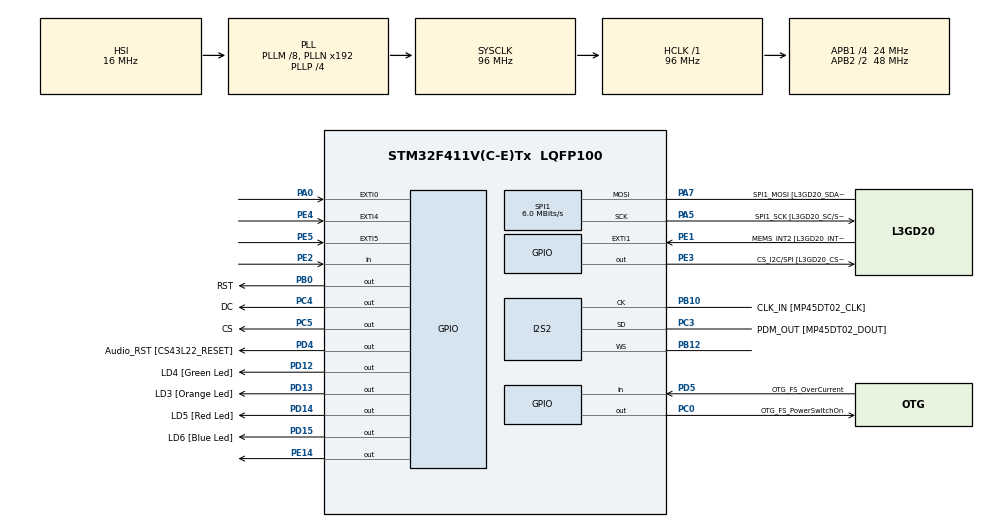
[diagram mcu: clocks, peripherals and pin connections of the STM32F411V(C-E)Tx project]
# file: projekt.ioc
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Dma.Request0=SPI2_RX
Dma.SPI2_RX.0.Direction=DMA_PERIPH_TO_MEMORY
Dma.SPI2_RX.0.FIFOMode=DMA_FIFOMODE_DISABLE
Dma.SPI2_RX.0.Instance=DMA1_Stream3
Dma.SPI2_RX.0.MemDataAlignment=DMA_MDATAALIGN_HALFWORD
Dma.SPI2_RX.0.MemInc=DMA_MINC_ENABLE
Dma.SPI2_RX.0.Mode=DMA_CIRCULAR
Dma.SPI2_RX.0.PeriphDataAlignment=DMA_PDATAALIGN_HALFWORD
Dma.SPI2_RX.0.PeriphInc=DMA_PINC_DISABLE
Dma.SPI2_RX.0.Priority=DMA_PRIORITY_HIGH
I2S2.AudioFreq=I2S_AUDIOFREQ_44K
I2S2.DataFormat=I2S_DATAFORMAT_16B
I2S2.ErrorAudioFreq=0.26 %
I2S2.FullDuplexMode=I2S_FULLDUPLEXMODE_DISABLE
I2S2.Instance=SPI$Index
I2S2.Mode=I2S_MODE_MASTER_RX
I2S2.RealAudioFreq=44.117 KHz
I2S2.VirtualMode=I2S_MODE_MASTER
Mcu.Family=STM32F4
Mcu.Name=STM32F411V(C-E)Tx
Mcu.Package=LQFP100
NVIC.DMA1_Stream3_IRQn=true\:0\:0\:false\:false\:true\:false\:true\:true
NVIC.EXTI0_IRQn=true\:0\:0\:false\:false\:true\:true\:true\:true
NVIC.PriorityGroup=NVIC_PRIORITYGROUP_0
NVIC.TIM2_IRQn=true\:0\:0\:false\:false\:true\:true\:true\:true
PA0-WKUP.GPIO_ModeDefaultEXTI=GPIO_MODE_IT_RISING_FALLING
PA0-WKUP.GPIO_PuPd=GPIO_PULLDOWN
PA0-WKUP.Signal=GPXTI0
PA10.GPIO_Label=OTG_FS_ID
PA10.Signal=USB_OTG_FS_ID
PA11.GPIO_Label=OTG_FS_DM
PA11.Signal=USB_OTG_FS_DM
PA12.GPIO_Label=OTG_FS_DP
PA12.Signal=USB_OTG_FS_DP
PA13.GPIO_Label=SWDIO
PA13.Signal=SYS_JTMS-SWDIO
PA14.GPIO_Label=SWCLK
PA14.Signal=SYS_JTCK-SWCLK
PA4.GPIO_Label=I2S3_WS [CS43L22_LRCK]
PA4.GPIO_Mode=GPIO_MODE_AF_PP
PA4.GPIO_PuPd=GPIO_NOPULL
PA4.GPIO_Speed=GPIO_SPEED_FREQ_LOW
PA4.Signal=I2S3_WS
PA5.GPIO_Label=SPI1_SCK [L3GD20_SC/SPC]
PA5.Mode=Simplex_Bidirectional_Master
PA5.Signal=SPI1_SCK
PA6.GPIO_Label=SPI1_MISO [L3GD20_AS0/SDO]
PA6.Signal=SPI1_MISO
PA7.GPIO_Label=SPI1_MOSI [L3GD20_SDA/SDI/SDO]
PA7.Mode=Simplex_Bidirectional_Master
PA7.Signal=SPI1_MOSI
PA9.GPIO_Label=VBUS_FS
PA9.Signal=USB_OTG_FS_VBUS
PB0.GPIO_Label=RST
PB0.GPIO_PuPd=GPIO_NOPULL
PB0.GPIO_Speed=GPIO_SPEED_FREQ_VERY_HIGH
PB0.Signal=GPIO_Output
PB10.GPIO_Label=CLK_IN [MP45DT02_CLK]
PB10.Mode=Half_Duplex_Master
PB10.Signal=I2S2_CK
PB12.Mode=Half_Duplex_Master
PB12.Signal=I2S2_WS
PB3.GPIO_Label=SWO
PB3.Signal=SYS_JTDO-SWO
PB6.GPIO_Label=Audio_SCL [CS43L22_SCL]
PB6.GPIO_Mode=GPIO_MODE_AF_OD
PB6.GPIO_PuPd=GPIO_NOPULL
PB6.GPIO_Speed=GPIO_SPEED_FREQ_LOW
PB6.Signal=I2C1_SCL
PB9.GPIO_Label=Audio_SDA [CS43L22_SDA]
PB9.GPIO_Mode=GPIO_MODE_AF_OD
PB9.GPIO_PuPd=GPIO_NOPULL
PB9.GPIO_Speed=GPIO_SPEED_FREQ_LOW
PB9.Signal=I2C1_SDA
PC0.GPIO_Label=OTG_FS_PowerSwitchOn
PC0.PinState=GPIO_PIN_SET
PC0.Signal=GPIO_Output
PC10.GPIO_Label=I2S3_SCK [CS43L22_SCLK]
PC10.GPIO_Mode=GPIO_MODE_AF_PP
PC10.GPIO_PuPd=GPIO_NOPULL
PC10.GPIO_Speed=GPIO_SPEED_FREQ_LOW
PC10.Signal=I2S3_CK
PC12.GPIO_Label=I2S3_SD [CS43L22_SDIN]
PC12.GPIO_Mode=GPIO_MODE_AF_PP
PC12.GPIO_PuPd=GPIO_NOPULL
PC12.GPIO_Speed=GPIO_SPEED_FREQ_LOW
PC12.Signal=I2S3_SD
PC14-OSC32_IN.GPIO_Label=PC14-OSC32_IN
PC14-OSC32_IN.Signal=RCC_OSC32_IN
PC15-OSC32_OUT.GPIO_Label=PC15-OSC32_OUT
PC15-OSC32_OUT.Signal=RCC_OSC32_OUT
PC3.GPIO_Label=PDM_OUT [MP45DT02_DOUT]
PC3.Mode=Half_Duplex_Master
PC3.Signal=I2S2_SD
PC4.GPIO_Label=DC
PC4.GPIO_PuPd=GPIO_NOPULL
PC4.GPIO_Speed=GPIO_SPEED_FREQ_VERY_HIGH
PC4.Signal=GPIO_Output
PC5.GPIO_Label=CS
PC5.GPIO_PuPd=GPIO_NOPULL
PC5.GPIO_Speed=GPIO_SPEED_FREQ_VERY_HIGH
PC5.Signal=GPIO_Output
PC7.GPIO_Label=I2S3_MCK [CS43L22_MCLK]
PC7.GPIO_Mode=GPIO_MODE_AF_PP
PC7.GPIO_PuPd=GPIO_NOPULL
PC7.GPIO_Speed=GPIO_SPEED_FREQ_LOW
PC7.Signal=I2S3_MCK
PD12.GPIO_Label=LD4 [Green Led]
PD12.GPIO_PuPd=GPIO_NOPULL
PD12.GPIO_Speed=GPIO_SPEED_FREQ_LOW
PD12.Signal=GPIO_Output
PD13.GPIO_Label=LD3 [Orange Led]
PD13.GPIO_PuPd=GPIO_NOPULL
PD13.GPIO_Speed=GPIO_SPEED_FREQ_LOW
PD13.Signal=GPIO_Output
PD14.GPIO_Label=LD5 [Red Led]
PD14.GPIO_PuPd=GPIO_NOPULL
PD14.GPIO_Speed=GPIO_SPEED_FREQ_LOW
PD14.Signal=GPIO_Output
PD15.GPIO_Label=LD6 [Blue Led]
PD15.GPIO_PuPd=GPIO_NOPULL
PD15.GPIO_Speed=GPIO_SPEED_FREQ_LOW
PD15.Signal=GPIO_Output
PD4.GPIO_Label=Audio_RST [CS43L22_RESET]
PD4.GPIO_PuPd=GPIO_NOPULL
PD4.Signal=GPIO_Output
PD5.GPIO_Label=OTG_FS_OverCurrent
PD5.Signal=GPIO_Input
PE1.GPIO_Label=MEMS_INT2 [L3GD20_INT2]
PE1.GPIO_ModeDefaultEXTI=GPIO_MODE_EVT_RISING
PE1.Signal=GPXTI1
PE14.Signal=GPIO_Output
PE2.Signal=GPIO_Input
PE3.GPIO_Label=CS_I2C/SPI [L3GD20_CS_I2C/SPI]
PE3.Signal=GPIO_Output
PE4.GPIO_ModeDefaultEXTI=GPIO_MODE_EVT_RISING
PE4.Signal=GPXTI4
PE5.GPIO_ModeDefaultEXTI=GPIO_MODE_EVT_RISING
PE5.Signal=GPXTI5
PH0\ -\ OSC_IN.GPIO_Label=PH0-OSC_IN
PH0\ -\ OSC_IN.Signal=RCC_OSC_IN
PH1\ -\ OSC_OUT.GPIO_Label=PH1-OSC_OUT
PH1\ -\ OSC_OUT.Signal=RCC_OSC_OUT
ProjectManager.HeapSize=0x200
ProjectManager.StackSize=0x400
ProjectManager.TargetToolchain=STM32CubeIDE
RCC.48MHZClocksFreq_Value=48000000
RCC.AHBFreq_Value=96000000
RCC.APB1CLKDivider=RCC_HCLK_DIV4
RCC.APB1Freq_Value=24000000
RCC.APB1TimFreq_Value=48000000
RCC.APB2CLKDivider=RCC_HCLK_DIV2
RCC.APB2Freq_Value=48000000
RCC.APB2TimFreq_Value=96000000
RCC.CortexFreq_Value=96000000
RCC.HCLKFreq_Value=96000000
RCC.HSE_VALUE=8000000
RCC.HSI_VALUE=16000000
RCC.LSE_VALUE=32768
RCC.PLLI2SM=8
RCC.PLLI2SR=4
RCC.PLLM=8
RCC.PLLP=RCC_PLLP_DIV4
RCC.PLLQ=8
RCC.SYSCLKFreq_VALUE=96000000
RCC.SYSCLKSource=RCC_SYSCLKSOURCE_PLLCLK
RCC.VCOOutputFreq_Value=384000000
SPI1.BaudRatePrescaler=SPI_BAUDRATEPRESCALER_8
SPI1.CalculateBaudRate=6.0 MBits/s
SPI1.DataSize=SPI_DATASIZE_8BIT
SPI1.Direction=SPI_DIRECTION_1LINE
SPI1.FirstBit=SPI_FIRSTBIT_MSB
SPI1.Mode=SPI_MODE_MASTER
SPI1.VirtualType=VM_MASTER
TIM2.Period=2999
TIM2.Prescaler=999
VP_TIM2_VS_ClockSourceINT.Mode=Internal
board=STM32F411E-DISCO

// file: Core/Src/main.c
/* USER CODE BEGIN Header */
/**
  ******************************************************************************
  * @file           : main.c
  * @brief          : Main program body
  ******************************************************************************
  * @attention
  *
  * Copyright (c) 2026 STMicroelectronics.
  * All rights reserved.
  *
  * This software is licensed under terms that can be found in the LICENSE file
  * in the root directory of this software component.
  * If no LICENSE file comes with this software, it is provided AS-IS.
  *
  ******************************************************************************
  */
/* USER CODE END Header */
#include "main.h"

/* USER CODE BEGIN Includes */
#include <string.h>
#include "st7735.h"
#include <stdlib.h>
#include <time.h>
// arm_math for FFT
#define ARM_MATH_CM4
#include "arm_math.h"
/* USER CODE END Includes */

/* USER CODE BEGIN PD */
#define I2S_DMA_BUF_LEN   1024
#define AUDIO_SAMPLES    (I2S_DMA_BUF_LEN / 2)
#define FFT_SIZE AUDIO_SAMPLES
#define MIC_CHANNEL_OFFSET  0
#define FFT_BUF_SIZE AUDIO_SAMPLES
/* USER CODE END PD */

I2S_HandleTypeDef hi2s2;
DMA_HandleTypeDef hdma_spi2_rx;

SPI_HandleTypeDef hspi1;

TIM_HandleTypeDef htim2;

void SystemClock_Config(void);
static void MX_GPIO_Init(void);
static void MX_DMA_Init(void);
static void MX_SPI1_Init(void);
static void MX_I2S2_Init(void);
static void MX_TIM2_Init(void);
/* USER CODE BEGIN PFP */
float32_t amplitude[160] = {0}; // 128 = SCREEN_WIDTH
float32_t frequencies[160] = {0};
float32_t sampling_rate = 0;
int16_t i2s_dma_buf[I2S_DMA_BUF_LEN] = {0};
float32_t fft_in[AUDIO_SAMPLES] = {0};
float32_t fft_out[AUDIO_SAMPLES] = {0};

volatile uint8_t modeDb = 0;

volatile uint8_t audio_half_ready = 0;
volatile uint8_t audio_full_ready = 0; // flags triggered on DMA callbacks (microphone)

volatile uint8_t can_refresh_lcd = 0; // flag triggered on TIM2 callback

arm_rfft_fast_instance_f32 fftHandler;

void init() {
	// initialize peripherals and code variables
	ST7735_Init();
	ST7735_FillScreen(BLACK);
	HAL_GPIO_WritePin(GPIOE, GPIO_PIN_14, 0); // MEMS Mic Channel Left
	arm_rfft_fast_init_f32(&fftHandler, FFT_BUF_SIZE);
}

void copy_audio_block(uint32_t start, uint32_t stop, uint32_t pcm_offset){
	// copy audio from i2s buffer to pcm
	uint32_t j = pcm_offset;
    for (uint32_t i = start; i < stop; i += 2)
    {
    	fft_in[j++] = i2s_dma_buf[i];
    }

}
void remove_dc(float32_t *signal, uint32_t size)
{
    float32_t mean = 0.0f;

    for (uint32_t i = 0; i < size; i++)
        mean += signal[i];

    mean /= size;

    for (uint32_t i = 0; i < size; i++)
        signal[i] -= mean;
}
void process_audio(){
	/*
	 * use of FFT function and deriving spectrum by calculating magnitute of complex output
	 */
	uint32_t j = 0;
	remove_dc(fft_in, sizeof(fft_in)/sizeof(float32_t));
	arm_rfft_fast_f32(&fftHandler, &fft_in, &fft_out, 0);
	for(int i = 0; i < 2 * sizeof(amplitude)/sizeof(float32_t); i+=2){
		if(i == 0){
			amplitude[j++] = modeDb
					    ? 20.0f * log10f((sqrtf(fft_out[i]*fft_out[i] + fft_out[i+1]*fft_out[i+1]) / AUDIO_SAMPLES) + 1e-12f)
					    : (2.0f * sqrtf(fft_out[i]*fft_out[i] + fft_out[i+1]*fft_out[i+1]) / AUDIO_SAMPLES);
		}
		else {
			amplitude[j++] = modeDb
					    ? 20.0f * log10f((2.0f * sqrtf(fft_out[i]*fft_out[i] + fft_out[i+1]*fft_out[i+1]) / AUDIO_SAMPLES) + 1e-12f)
					    : (2.0f * sqrtf(fft_out[i]*fft_out[i] + fft_out[i+1]*fft_out[i+1]) / AUDIO_SAMPLES);
		}

	}
}
void lcd(){
	/*
	 * refreshing lcd screen outpput
	 */
	ST7735_DrawColumns(amplitude, sizeof(amplitude)/sizeof(uint32_t), modeDb);
}
void modeSwitch(){
	modeDb = ~modeDb;
}
/* USER CODE END PFP */

/* USER CODE BEGIN 0 */

/*
 * Button handling
 */
uint32_t btn_timerTick = 0;
uint32_t btn_lastTick = 0;
uint8_t isFallingEdge(){
	return HAL_GPIO_ReadPin(GPIOA, GPIO_PIN_0) == 0;
}
void HAL_GPIO_EXTI_Callback(uint16_t GPIO_Pin)
{
	if(GPIO_Pin == GPIO_PIN_0){
		btn_timerTick = HAL_GetTick();
		if(isFallingEdge()){
			btn_lastTick = btn_timerTick;
			return;
		}
		if(btn_timerTick - btn_lastTick > 200){
			modeSwitch();
			btn_lastTick = btn_timerTick;
		}
	}
}

void HAL_I2S_RxHalfCpltCallback(I2S_HandleTypeDef *hi2s)
{
    if (hi2s->Instance == SPI2)
    {
    	audio_half_ready = 1;
    }
}

void HAL_I2S_RxCpltCallback(I2S_HandleTypeDef *hi2s)
{
    if (hi2s->Instance == SPI2)
    {
    	audio_full_ready = 1;
    }
}
void HAL_TIM_PeriodElapsedCallback(TIM_HandleTypeDef *htim)
{
    if (htim->Instance == TIM2)
    {
    	can_refresh_lcd = 1;
    }
}
/* USER CODE END 0 */

int main(void)
{

  /* MCU Configuration--------------------------------------------------------*/

  /* Reset of all peripherals, Initializes the Flash interface and the Systick. */
  HAL_Init();

  /* Configure the system clock */
  SystemClock_Config();

  /* Initialize all configured peripherals */
  MX_GPIO_Init();
  MX_DMA_Init();
  MX_SPI1_Init();
  MX_I2S2_Init();
  MX_TIM2_Init();
  /* USER CODE BEGIN 2 */
  sampling_rate = hi2s2.Init.AudioFreq;
  init();
  HAL_TIM_Base_Start_IT(&htim2);
  HAL_I2S_Receive_DMA(&hi2s2, i2s_dma_buf, I2S_DMA_BUF_LEN);
  /* USER CODE END 2 */

  /* Infinite loop */
  /* USER CODE BEGIN WHILE */
  while (1)
  {
      if (audio_half_ready)
      {
          audio_half_ready = 0;
          copy_audio_block(0, I2S_DMA_BUF_LEN / 2, 0);
      }

      if (audio_full_ready)
      {
          audio_full_ready = 0;
          copy_audio_block(I2S_DMA_BUF_LEN / 2, I2S_DMA_BUF_LEN, AUDIO_SAMPLES/2);

      }
      if(can_refresh_lcd){
    	  process_audio();
    	  lcd();
    	  can_refresh_lcd = 0;
      }

    /* USER CODE END WHILE */

  }
}

void SystemClock_Config(void)
{
  RCC_OscInitTypeDef RCC_OscInitStruct = {0};
  RCC_ClkInitTypeDef RCC_ClkInitStruct = {0};

  /** Configure the main internal regulator output voltage
  */
  __HAL_RCC_PWR_CLK_ENABLE();
  __HAL_PWR_VOLTAGESCALING_CONFIG(PWR_REGULATOR_VOLTAGE_SCALE1);

  /** Initializes the RCC Oscillators according to the specified parameters
  * in the RCC_OscInitTypeDef structure.
  */
  RCC_OscInitStruct.OscillatorType = RCC_OSCILLATORTYPE_HSI;
  RCC_OscInitStruct.HSIState = RCC_HSI_ON;
  RCC_OscInitStruct.HSICalibrationValue = RCC_HSICALIBRATION_DEFAULT;
  RCC_OscInitStruct.PLL.PLLState = RCC_PLL_ON;
  RCC_OscInitStruct.PLL.PLLSource = RCC_PLLSOURCE_HSI;
  RCC_OscInitStruct.PLL.PLLM = 8;
  RCC_OscInitStruct.PLL.PLLN = 192;
  RCC_OscInitStruct.PLL.PLLP = RCC_PLLP_DIV4;
  RCC_OscInitStruct.PLL.PLLQ = 8;
  if (HAL_RCC_OscConfig(&RCC_OscInitStruct) != HAL_OK)
  {
    Error_Handler();
  }

  /** Initializes the CPU, AHB and APB buses clocks
  */
  RCC_ClkInitStruct.ClockType = RCC_CLOCKTYPE_HCLK|RCC_CLOCKTYPE_SYSCLK
                              |RCC_CLOCKTYPE_PCLK1|RCC_CLOCKTYPE_PCLK2;
  RCC_ClkInitStruct.SYSCLKSource = RCC_SYSCLKSOURCE_PLLCLK;
  RCC_ClkInitStruct.AHBCLKDivider = RCC_SYSCLK_DIV1;
  RCC_ClkInitStruct.APB1CLKDivider = RCC_HCLK_DIV4;
  RCC_ClkInitStruct.APB2CLKDivider = RCC_HCLK_DIV2;

  if (HAL_RCC_ClockConfig(&RCC_ClkInitStruct, FLASH_LATENCY_3) != HAL_OK)
  {
    Error_Handler();
  }
}

static void MX_I2S2_Init(void)
{

  hi2s2.Instance = SPI2;
  hi2s2.Init.Mode = I2S_MODE_MASTER_RX;
  hi2s2.Init.Standard = I2S_STANDARD_PHILIPS;
  hi2s2.Init.DataFormat = I2S_DATAFORMAT_16B;
  hi2s2.Init.MCLKOutput = I2S_MCLKOUTPUT_DISABLE;
  hi2s2.Init.AudioFreq = I2S_AUDIOFREQ_44K;
  hi2s2.Init.CPOL = I2S_CPOL_LOW;
  hi2s2.Init.ClockSource = I2S_CLOCK_PLL;
  hi2s2.Init.FullDuplexMode = I2S_FULLDUPLEXMODE_DISABLE;
  if (HAL_I2S_Init(&hi2s2) != HAL_OK)
  {
    Error_Handler();
  }

}

static void MX_SPI1_Init(void)
{

  /* SPI1 parameter configuration*/
  hspi1.Instance = SPI1;
  hspi1.Init.Mode = SPI_MODE_MASTER;
  hspi1.Init.Direction = SPI_DIRECTION_1LINE;
  hspi1.Init.DataSize = SPI_DATASIZE_8BIT;
  hspi1.Init.CLKPolarity = SPI_POLARITY_LOW;
  hspi1.Init.CLKPhase = SPI_PHASE_1EDGE;
  hspi1.Init.NSS = SPI_NSS_SOFT;
  hspi1.Init.BaudRatePrescaler = SPI_BAUDRATEPRESCALER_8;
  hspi1.Init.FirstBit = SPI_FIRSTBIT_MSB;
  hspi1.Init.TIMode = SPI_TIMODE_DISABLE;
  hspi1.Init.CRCCalculation = SPI_CRCCALCULATION_DISABLE;
  hspi1.Init.CRCPolynomial = 10;
  if (HAL_SPI_Init(&hspi1) != HAL_OK)
  {
    Error_Handler();
  }

}

static void MX_TIM2_Init(void)
{

  TIM_ClockConfigTypeDef sClockSourceConfig = {0};
  TIM_MasterConfigTypeDef sMasterConfig = {0};

  htim2.Instance = TIM2;
  htim2.Init.Prescaler = 999;
  htim2.Init.CounterMode = TIM_COUNTERMODE_UP;
  htim2.Init.Period = 2999;
  htim2.Init.ClockDivision = TIM_CLOCKDIVISION_DIV1;
  htim2.Init.AutoReloadPreload = TIM_AUTORELOAD_PRELOAD_DISABLE;
  if (HAL_TIM_Base_Init(&htim2) != HAL_OK)
  {
    Error_Handler();
  }
  sClockSourceConfig.ClockSource = TIM_CLOCKSOURCE_INTERNAL;
  if (HAL_TIM_ConfigClockSource(&htim2, &sClockSourceConfig) != HAL_OK)
  {
    Error_Handler();
  }
  sMasterConfig.MasterOutputTrigger = TIM_TRGO_RESET;
  sMasterConfig.MasterSlaveMode = TIM_MASTERSLAVEMODE_DISABLE;
  if (HAL_TIMEx_MasterConfigSynchronization(&htim2, &sMasterConfig) != HAL_OK)
  {
    Error_Handler();
  }

}

static void MX_DMA_Init(void)
{

  /* DMA controller clock enable */
  __HAL_RCC_DMA1_CLK_ENABLE();

  /* DMA interrupt init */
  /* DMA1_Stream3_IRQn interrupt configuration */
  HAL_NVIC_SetPriority(DMA1_Stream3_IRQn, 0, 0);
  HAL_NVIC_EnableIRQ(DMA1_Stream3_IRQn);

}

static void MX_GPIO_Init(void)
{
  GPIO_InitTypeDef GPIO_InitStruct = {0};

  /* GPIO Ports Clock Enable */
  __HAL_RCC_GPIOE_CLK_ENABLE();
  __HAL_RCC_GPIOC_CLK_ENABLE();
  __HAL_RCC_GPIOH_CLK_ENABLE();
  __HAL_RCC_GPIOA_CLK_ENABLE();
  __HAL_RCC_GPIOB_CLK_ENABLE();
  __HAL_RCC_GPIOD_CLK_ENABLE();

  /*Configure GPIO pin Output Level */
  HAL_GPIO_WritePin(GPIOE, CS_I2C_SPI_Pin|GPIO_PIN_14, GPIO_PIN_RESET);

  /*Configure GPIO pin Output Level */
  HAL_GPIO_WritePin(OTG_FS_PowerSwitchOn_GPIO_Port, OTG_FS_PowerSwitchOn_Pin, GPIO_PIN_SET);

  /*Configure GPIO pin Output Level */
  HAL_GPIO_WritePin(GPIOC, DC_Pin|CS_Pin, GPIO_PIN_RESET);

  /*Configure GPIO pin Output Level */
  HAL_GPIO_WritePin(RST_GPIO_Port, RST_Pin, GPIO_PIN_RESET);

  /*Configure GPIO pin Output Level */
  HAL_GPIO_WritePin(GPIOD, LD4_Pin|LD3_Pin|LD5_Pin|LD6_Pin
                          |Audio_RST_Pin, GPIO_PIN_RESET);

  /*Configure GPIO pin : PE2 */
  GPIO_InitStruct.Pin = GPIO_PIN_2;
  GPIO_InitStruct.Mode = GPIO_MODE_INPUT;
  GPIO_InitStruct.Pull = GPIO_NOPULL;
  HAL_GPIO_Init(GPIOE, &GPIO_InitStruct);

  /*Configure GPIO pins : CS_I2C_SPI_Pin PE14 */
  GPIO_InitStruct.Pin = CS_I2C_SPI_Pin|GPIO_PIN_14;
  GPIO_InitStruct.Mode = GPIO_MODE_OUTPUT_PP;
  GPIO_InitStruct.Pull = GPIO_NOPULL;
  GPIO_InitStruct.Speed = GPIO_SPEED_FREQ_LOW;
  HAL_GPIO_Init(GPIOE, &GPIO_InitStruct);

  /*Configure GPIO pins : PE4 PE5 MEMS_INT2_Pin */
  GPIO_InitStruct.Pin = GPIO_PIN_4|GPIO_PIN_5|MEMS_INT2_Pin;
  GPIO_InitStruct.Mode = GPIO_MODE_EVT_RISING;
  GPIO_InitStruct.Pull = GPIO_NOPULL;
  HAL_GPIO_Init(GPIOE, &GPIO_InitStruct);

  /*Configure GPIO pin : OTG_FS_PowerSwitchOn_Pin */
  GPIO_InitStruct.Pin = OTG_FS_PowerSwitchOn_Pin;
  GPIO_InitStruct.Mode = GPIO_MODE_OUTPUT_PP;
  GPIO_InitStruct.Pull = GPIO_NOPULL;
  GPIO_InitStruct.Speed = GPIO_SPEED_FREQ_LOW;
  HAL_GPIO_Init(OTG_FS_PowerSwitchOn_GPIO_Port, &GPIO_InitStruct);

  /*Configure GPIO pin : PA0 */
  GPIO_InitStruct.Pin = GPIO_PIN_0;
  GPIO_InitStruct.Mode = GPIO_MODE_IT_RISING_FALLING;
  GPIO_InitStruct.Pull = GPIO_PULLDOWN;
  HAL_GPIO_Init(GPIOA, &GPIO_InitStruct);

  /*Configure GPIO pin : I2S3_WS_Pin */
  GPIO_InitStruct.Pin = I2S3_WS_Pin;
  GPIO_InitStruct.Mode = GPIO_MODE_AF_PP;
  GPIO_InitStruct.Pull = GPIO_NOPULL;
  GPIO_InitStruct.Speed = GPIO_SPEED_FREQ_LOW;
  GPIO_InitStruct.Alternate = GPIO_AF6_SPI3;
  HAL_GPIO_Init(I2S3_WS_GPIO_Port, &GPIO_InitStruct);

  /*Configure GPIO pins : DC_Pin CS_Pin */
  GPIO_InitStruct.Pin = DC_Pin|CS_Pin;
  GPIO_InitStruct.Mode = GPIO_MODE_OUTPUT_PP;
  GPIO_InitStruct.Pull = GPIO_NOPULL;
  GPIO_InitStruct.Speed = GPIO_SPEED_FREQ_VERY_HIGH;
  HAL_GPIO_Init(GPIOC, &GPIO_InitStruct);

  /*Configure GPIO pin : RST_Pin */
  GPIO_InitStruct.Pin = RST_Pin;
  GPIO_InitStruct.Mode = GPIO_MODE_OUTPUT_PP;
  GPIO_InitStruct.Pull = GPIO_NOPULL;
  GPIO_InitStruct.Speed = GPIO_SPEED_FREQ_VERY_HIGH;
  HAL_GPIO_Init(RST_GPIO_Port, &GPIO_InitStruct);

  /*Configure GPIO pins : LD4_Pin LD3_Pin LD5_Pin LD6_Pin
                           Audio_RST_Pin */
  GPIO_InitStruct.Pin = LD4_Pin|LD3_Pin|LD5_Pin|LD6_Pin
                          |Audio_RST_Pin;
  GPIO_InitStruct.Mode = GPIO_MODE_OUTPUT_PP;
  GPIO_InitStruct.Pull = GPIO_NOPULL;
  GPIO_InitStruct.Speed = GPIO_SPEED_FREQ_LOW;
  HAL_GPIO_Init(GPIOD, &GPIO_InitStruct);

  /*Configure GPIO pins : I2S3_MCK_Pin I2S3_SCK_Pin I2S3_SD_Pin */
  GPIO_InitStruct.Pin = I2S3_MCK_Pin|I2S3_SCK_Pin|I2S3_SD_Pin;
  GPIO_InitStruct.Mode = GPIO_MODE_AF_PP;
  GPIO_InitStruct.Pull = GPIO_NOPULL;
  GPIO_InitStruct.Speed = GPIO_SPEED_FREQ_LOW;
  GPIO_InitStruct.Alternate = GPIO_AF6_SPI3;
  HAL_GPIO_Init(GPIOC, &GPIO_InitStruct);

  /*Configure GPIO pin : VBUS_FS_Pin */
  GPIO_InitStruct.Pin = VBUS_FS_Pin;
  GPIO_InitStruct.Mode = GPIO_MODE_INPUT;
  GPIO_InitStruct.Pull = GPIO_NOPULL;
  HAL_GPIO_Init(VBUS_FS_GPIO_Port, &GPIO_InitStruct);

  /*Configure GPIO pins : OTG_FS_ID_Pin OTG_FS_DM_Pin OTG_FS_DP_Pin */
  GPIO_InitStruct.Pin = OTG_FS_ID_Pin|OTG_FS_DM_Pin|OTG_FS_DP_Pin;
  GPIO_InitStruct.Mode = GPIO_MODE_AF_PP;
  GPIO_InitStruct.Pull = GPIO_NOPULL;
  GPIO_InitStruct.Speed = GPIO_SPEED_FREQ_VERY_HIGH;
  GPIO_InitStruct.Alternate = GPIO_AF10_OTG_FS;
  HAL_GPIO_Init(GPIOA, &GPIO_InitStruct);

  /*Configure GPIO pin : OTG_FS_OverCurrent_Pin */
  GPIO_InitStruct.Pin = OTG_FS_OverCurrent_Pin;
  GPIO_InitStruct.Mode = GPIO_MODE_INPUT;
  GPIO_InitStruct.Pull = GPIO_NOPULL;
  HAL_GPIO_Init(OTG_FS_OverCurrent_GPIO_Port, &GPIO_InitStruct);

  /*Configure GPIO pins : Audio_SCL_Pin Audio_SDA_Pin */
  GPIO_InitStruct.Pin = Audio_SCL_Pin|Audio_SDA_Pin;
  GPIO_InitStruct.Mode = GPIO_MODE_AF_OD;
  GPIO_InitStruct.Pull = GPIO_NOPULL;
  GPIO_InitStruct.Speed = GPIO_SPEED_FREQ_LOW;
  GPIO_InitStruct.Alternate = GPIO_AF4_I2C1;
  HAL_GPIO_Init(GPIOB, &GPIO_InitStruct);

  /* EXTI interrupt init*/
  HAL_NVIC_SetPriority(EXTI0_IRQn, 0, 0);
  HAL_NVIC_EnableIRQ(EXTI0_IRQn);

}

void Error_Handler(void)
{
  __disable_irq();
  while (1)
  {
  }
}
